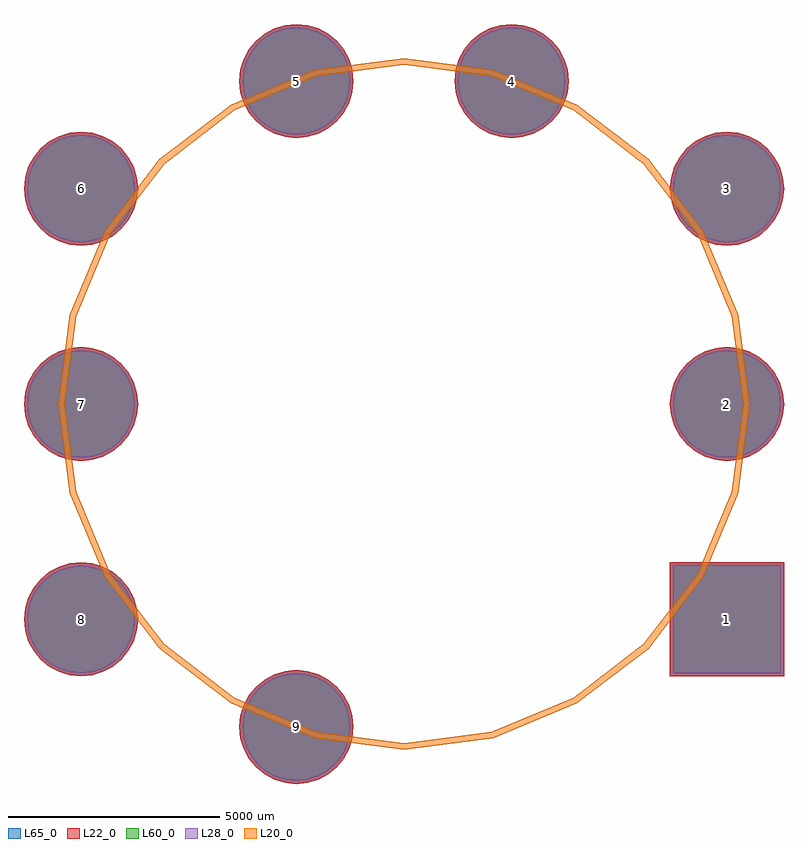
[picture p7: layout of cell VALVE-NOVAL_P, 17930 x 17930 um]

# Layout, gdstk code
import gdstk
lib = gdstk.Library(unit=1e-6, precision=1e-09)
def R(c, l, rs):  # rectangles x0, y0, x1, y1
    for r in rs: c.add(gdstk.rectangle(r[:2], r[2:], *l))
def P(c, l, *ps):  # polygons
    for p in ps: c.add(gdstk.Polygon(p, *l))
L20_0 = (20, 0)
L22_0 = (22, 0)
L28_0 = (28, 0)
L60_0 = (60, 0)
L65_0 = (65, 0)

valve_noval_p = lib.new_cell('VALVE-NOVAL_P')
R(valve_noval_p, L22_0, [(6275,-6425,8965,-3735)])
P(valve_noval_p, L22_0, [(-1195,-7620),(-1220.844,-7357.604),(-1297.382,-7105.291),(-1421.673,-6872.758),(-1588.941,-6668.941),(-1792.758,-6501.673),(-2025.291,-6377.382),(-2277.604,-6300.844),(-2540,-6275),(-2802.396,-6300.844),(-3054.709,-6377.382),(-3287.242,-6501.673),(-3491.059,-6668.941),(-3658.327,-6872.758),(-3782.618,-7105.291),(-3859.156,-7357.604),(-3885,-7620),(-3859.156,-7882.396),(-3782.618,-8134.709),(-3658.327,-8367.242),(-3491.059,-8571.059),(-3287.242,-8738.327),(-3054.709,-8862.618),(-2802.396,-8939.156),(-2540,-8965),(-2277.604,-8939.156),(-2025.291,-8862.618),(-1792.758,-8738.327),(-1588.941,-8571.059),(-1421.673,-8367.242),(-1297.382,-8134.709),(-1220.844,-7882.396)],
  [(-6275,-5080),(-6300.844,-4817.604),(-6377.382,-4565.291),(-6501.673,-4332.758),(-6668.941,-4128.941),(-6872.758,-3961.673),(-7105.291,-3837.382),(-7357.604,-3760.844),(-7620,-3735),(-7882.396,-3760.844),(-8134.709,-3837.382),(-8367.242,-3961.673),(-8571.059,-4128.941),(-8738.327,-4332.758),(-8862.618,-4565.291),(-8939.156,-4817.604),(-8965,-5080),(-8939.156,-5342.396),(-8862.618,-5594.709),(-8738.327,-5827.242),(-8571.059,-6031.059),(-8367.242,-6198.327),(-8134.709,-6322.618),(-7882.396,-6399.156),(-7620,-6425),(-7357.604,-6399.156),(-7105.291,-6322.618),(-6872.758,-6198.327),(-6668.941,-6031.059),(-6501.673,-5827.242),(-6377.382,-5594.709),(-6300.844,-5342.396)],
  [(-6275,0),(-6300.844,262.396),(-6377.382,514.709),(-6501.673,747.242),(-6668.941,951.059),(-6872.758,1118.327),(-7105.291,1242.618),(-7357.604,1319.156),(-7620,1345),(-7882.396,1319.156),(-8134.709,1242.618),(-8367.242,1118.327),(-8571.059,951.059),(-8738.327,747.242),(-8862.618,514.709),(-8939.156,262.396),(-8965,0),(-8939.156,-262.396),(-8862.618,-514.709),(-8738.327,-747.242),(-8571.059,-951.059),(-8367.242,-1118.327),(-8134.709,-1242.618),(-7882.396,-1319.156),(-7620,-1345),(-7357.604,-1319.156),(-7105.291,-1242.618),(-6872.758,-1118.327),(-6668.941,-951.059),(-6501.673,-747.242),(-6377.382,-514.709),(-6300.844,-262.396)],
  [(-6275,5080),(-6300.844,5342.396),(-6377.382,5594.709),(-6501.673,5827.242),(-6668.941,6031.059),(-6872.758,6198.327),(-7105.291,6322.618),(-7357.604,6399.156),(-7620,6425),(-7882.396,6399.156),(-8134.709,6322.618),(-8367.242,6198.327),(-8571.059,6031.059),(-8738.327,5827.242),(-8862.618,5594.709),(-8939.156,5342.396),(-8965,5080),(-8939.156,4817.604),(-8862.618,4565.291),(-8738.327,4332.758),(-8571.059,4128.941),(-8367.242,3961.673),(-8134.709,3837.382),(-7882.396,3760.844),(-7620,3735),(-7357.604,3760.844),(-7105.291,3837.382),(-6872.758,3961.673),(-6668.941,4128.941),(-6501.673,4332.758),(-6377.382,4565.291),(-6300.844,4817.604)],
  [(-1195,7620),(-1220.844,7882.396),(-1297.382,8134.709),(-1421.673,8367.242),(-1588.941,8571.059),(-1792.758,8738.327),(-2025.291,8862.618),(-2277.604,8939.156),(-2540,8965),(-2802.396,8939.156),(-3054.709,8862.618),(-3287.242,8738.327),(-3491.059,8571.059),(-3658.327,8367.242),(-3782.618,8134.709),(-3859.156,7882.396),(-3885,7620),(-3859.156,7357.604),(-3782.618,7105.291),(-3658.327,6872.758),(-3491.059,6668.941),(-3287.242,6501.673),(-3054.709,6377.382),(-2802.396,6300.844),(-2540,6275),(-2277.604,6300.844),(-2025.291,6377.382),(-1792.758,6501.673),(-1588.941,6668.941),(-1421.673,6872.758),(-1297.382,7105.291),(-1220.844,7357.604)],
  [(3885,7620),(3859.156,7882.396),(3782.618,8134.709),(3658.327,8367.242),(3491.059,8571.059),(3287.242,8738.327),(3054.709,8862.618),(2802.396,8939.156),(2540,8965),(2277.604,8939.156),(2025.291,8862.618),(1792.758,8738.327),(1588.941,8571.059),(1421.673,8367.242),(1297.382,8134.709),(1220.844,7882.396),(1195,7620),(1220.844,7357.604),(1297.382,7105.291),(1421.673,6872.758),(1588.941,6668.941),(1792.758,6501.673),(2025.291,6377.382),(2277.604,6300.844),(2540,6275),(2802.396,6300.844),(3054.709,6377.382),(3287.242,6501.673),(3491.059,6668.941),(3658.327,6872.758),(3782.618,7105.291),(3859.156,7357.604)],
  [(8965,5080),(8939.156,5342.396),(8862.618,5594.709),(8738.327,5827.242),(8571.059,6031.059),(8367.242,6198.327),(8134.709,6322.618),(7882.396,6399.156),(7620,6425),(7357.604,6399.156),(7105.291,6322.618),(6872.758,6198.327),(6668.941,6031.059),(6501.673,5827.242),(6377.382,5594.709),(6300.844,5342.396),(6275,5080),(6300.844,4817.604),(6377.382,4565.291),(6501.673,4332.758),(6668.941,4128.941),(6872.758,3961.673),(7105.291,3837.382),(7357.604,3760.844),(7620,3735),(7882.396,3760.844),(8134.709,3837.382),(8367.242,3961.673),(8571.059,4128.941),(8738.327,4332.758),(8862.618,4565.291),(8939.156,4817.604)],
  [(8965,0),(8939.156,262.396),(8862.618,514.709),(8738.327,747.242),(8571.059,951.059),(8367.242,1118.327),(8134.709,1242.618),(7882.396,1319.156),(7620,1345),(7357.604,1319.156),(7105.291,1242.618),(6872.758,1118.327),(6668.941,951.059),(6501.673,747.242),(6377.382,514.709),(6300.844,262.396),(6275,0),(6300.844,-262.396),(6377.382,-514.709),(6501.673,-747.242),(6668.941,-951.059),(6872.758,-1118.327),(7105.291,-1242.618),(7357.604,-1319.156),(7620,-1345),(7882.396,-1319.156),(8134.709,-1242.618),(8367.242,-1118.327),(8571.059,-951.059),(8738.327,-747.242),(8862.618,-514.709),(8939.156,-262.396)])
R(valve_noval_p, L28_0, [(6350,-6350,8890,-3810)])
P(valve_noval_p, L28_0, [(-1270,-7620),(-1294.403,-7372.235),(-1366.673,-7133.992),(-1484.034,-6914.426),(-1641.974,-6721.974),(-1834.426,-6564.034),(-2053.992,-6446.673),(-2292.235,-6374.403),(-2540,-6350),(-2787.765,-6374.403),(-3026.008,-6446.673),(-3245.574,-6564.034),(-3438.026,-6721.974),(-3595.966,-6914.426),(-3713.327,-7133.992),(-3785.597,-7372.235),(-3810,-7620),(-3785.597,-7867.765),(-3713.327,-8106.008),(-3595.966,-8325.574),(-3438.026,-8518.026),(-3245.574,-8675.966),(-3026.008,-8793.327),(-2787.765,-8865.597),(-2540,-8890),(-2292.235,-8865.597),(-2053.992,-8793.327),(-1834.426,-8675.966),(-1641.974,-8518.026),(-1484.034,-8325.574),(-1366.673,-8106.008),(-1294.403,-7867.765)],
  [(-6350,-5080),(-6374.403,-4832.235),(-6446.673,-4593.992),(-6564.034,-4374.426),(-6721.974,-4181.974),(-6914.426,-4024.034),(-7133.992,-3906.673),(-7372.235,-3834.403),(-7620,-3810),(-7867.765,-3834.403),(-8106.008,-3906.673),(-8325.574,-4024.034),(-8518.026,-4181.974),(-8675.966,-4374.426),(-8793.327,-4593.992),(-8865.597,-4832.235),(-8890,-5080),(-8865.597,-5327.765),(-8793.327,-5566.008),(-8675.966,-5785.574),(-8518.026,-5978.026),(-8325.574,-6135.966),(-8106.008,-6253.327),(-7867.765,-6325.597),(-7620,-6350),(-7372.235,-6325.597),(-7133.992,-6253.327),(-6914.426,-6135.966),(-6721.974,-5978.026),(-6564.034,-5785.574),(-6446.673,-5566.008),(-6374.403,-5327.765)],
  [(-6350,0),(-6374.403,247.765),(-6446.673,486.008),(-6564.034,705.574),(-6721.974,898.026),(-6914.426,1055.966),(-7133.992,1173.327),(-7372.235,1245.597),(-7620,1270),(-7867.765,1245.597),(-8106.008,1173.327),(-8325.574,1055.966),(-8518.026,898.026),(-8675.966,705.574),(-8793.327,486.008),(-8865.597,247.765),(-8890,0),(-8865.597,-247.765),(-8793.327,-486.008),(-8675.966,-705.574),(-8518.026,-898.026),(-8325.574,-1055.966),(-8106.008,-1173.327),(-7867.765,-1245.597),(-7620,-1270),(-7372.235,-1245.597),(-7133.992,-1173.327),(-6914.426,-1055.966),(-6721.974,-898.026),(-6564.034,-705.574),(-6446.673,-486.008),(-6374.403,-247.765)],
  [(-6350,5080),(-6374.403,5327.765),(-6446.673,5566.008),(-6564.034,5785.574),(-6721.974,5978.026),(-6914.426,6135.966),(-7133.992,6253.327),(-7372.235,6325.597),(-7620,6350),(-7867.765,6325.597),(-8106.008,6253.327),(-8325.574,6135.966),(-8518.026,5978.026),(-8675.966,5785.574),(-8793.327,5566.008),(-8865.597,5327.765),(-8890,5080),(-8865.597,4832.235),(-8793.327,4593.992),(-8675.966,4374.426),(-8518.026,4181.974),(-8325.574,4024.034),(-8106.008,3906.673),(-7867.765,3834.403),(-7620,3810),(-7372.235,3834.403),(-7133.992,3906.673),(-6914.426,4024.034),(-6721.974,4181.974),(-6564.034,4374.426),(-6446.673,4593.992),(-6374.403,4832.235)],
  [(-1270,7620),(-1294.403,7867.765),(-1366.673,8106.008),(-1484.034,8325.574),(-1641.974,8518.026),(-1834.426,8675.966),(-2053.992,8793.327),(-2292.235,8865.597),(-2540,8890),(-2787.765,8865.597),(-3026.008,8793.327),(-3245.574,8675.966),(-3438.026,8518.026),(-3595.966,8325.574),(-3713.327,8106.008),(-3785.597,7867.765),(-3810,7620),(-3785.597,7372.235),(-3713.327,7133.992),(-3595.966,6914.426),(-3438.026,6721.974),(-3245.574,6564.034),(-3026.008,6446.673),(-2787.765,6374.403),(-2540,6350),(-2292.235,6374.403),(-2053.992,6446.673),(-1834.426,6564.034),(-1641.974,6721.974),(-1484.034,6914.426),(-1366.673,7133.992),(-1294.403,7372.235)],
  [(3810,7620),(3785.597,7867.765),(3713.327,8106.008),(3595.966,8325.574),(3438.026,8518.026),(3245.574,8675.966),(3026.008,8793.327),(2787.765,8865.597),(2540,8890),(2292.235,8865.597),(2053.992,8793.327),(1834.426,8675.966),(1641.974,8518.026),(1484.034,8325.574),(1366.673,8106.008),(1294.403,7867.765),(1270,7620),(1294.403,7372.235),(1366.673,7133.992),(1484.034,6914.426),(1641.974,6721.974),(1834.426,6564.034),(2053.992,6446.673),(2292.235,6374.403),(2540,6350),(2787.765,6374.403),(3026.008,6446.673),(3245.574,6564.034),(3438.026,6721.974),(3595.966,6914.426),(3713.327,7133.992),(3785.597,7372.235)],
  [(8890,5080),(8865.597,5327.765),(8793.327,5566.008),(8675.966,5785.574),(8518.026,5978.026),(8325.574,6135.966),(8106.008,6253.327),(7867.765,6325.597),(7620,6350),(7372.235,6325.597),(7133.992,6253.327),(6914.426,6135.966),(6721.974,5978.026),(6564.034,5785.574),(6446.673,5566.008),(6374.403,5327.765),(6350,5080),(6374.403,4832.235),(6446.673,4593.992),(6564.034,4374.426),(6721.974,4181.974),(6914.426,4024.034),(7133.992,3906.673),(7372.235,3834.403),(7620,3810),(7867.765,3834.403),(8106.008,3906.673),(8325.574,4024.034),(8518.026,4181.974),(8675.966,4374.426),(8793.327,4593.992),(8865.597,4832.235)],
  [(8890,0),(8865.597,247.765),(8793.327,486.008),(8675.966,705.574),(8518.026,898.026),(8325.574,1055.966),(8106.008,1173.327),(7867.765,1245.597),(7620,1270),(7372.235,1245.597),(7133.992,1173.327),(6914.426,1055.966),(6721.974,898.026),(6564.034,705.574),(6446.673,486.008),(6374.403,247.765),(6350,0),(6374.403,-247.765),(6446.673,-486.008),(6564.034,-705.574),(6721.974,-898.026),(6914.426,-1055.966),(7133.992,-1173.327),(7372.235,-1245.597),(7620,-1270),(7867.765,-1245.597),(8106.008,-1173.327),(8325.574,-1055.966),(8518.026,-898.026),(8675.966,-705.574),(8793.327,-486.008),(8865.597,-247.765)])
R(valve_noval_p, L60_0, [(6350,-6350,8890,-3810)])
P(valve_noval_p, L60_0, [(-1270,-7620),(-1294.403,-7372.235),(-1366.673,-7133.992),(-1484.034,-6914.426),(-1641.974,-6721.974),(-1834.426,-6564.034),(-2053.992,-6446.673),(-2292.235,-6374.403),(-2540,-6350),(-2787.765,-6374.403),(-3026.008,-6446.673),(-3245.574,-6564.034),(-3438.026,-6721.974),(-3595.966,-6914.426),(-3713.327,-7133.992),(-3785.597,-7372.235),(-3810,-7620),(-3785.597,-7867.765),(-3713.327,-8106.008),(-3595.966,-8325.574),(-3438.026,-8518.026),(-3245.574,-8675.966),(-3026.008,-8793.327),(-2787.765,-8865.597),(-2540,-8890),(-2292.235,-8865.597),(-2053.992,-8793.327),(-1834.426,-8675.966),(-1641.974,-8518.026),(-1484.034,-8325.574),(-1366.673,-8106.008),(-1294.403,-7867.765)],
  [(-6350,-5080),(-6374.403,-4832.235),(-6446.673,-4593.992),(-6564.034,-4374.426),(-6721.974,-4181.974),(-6914.426,-4024.034),(-7133.992,-3906.673),(-7372.235,-3834.403),(-7620,-3810),(-7867.765,-3834.403),(-8106.008,-3906.673),(-8325.574,-4024.034),(-8518.026,-4181.974),(-8675.966,-4374.426),(-8793.327,-4593.992),(-8865.597,-4832.235),(-8890,-5080),(-8865.597,-5327.765),(-8793.327,-5566.008),(-8675.966,-5785.574),(-8518.026,-5978.026),(-8325.574,-6135.966),(-8106.008,-6253.327),(-7867.765,-6325.597),(-7620,-6350),(-7372.235,-6325.597),(-7133.992,-6253.327),(-6914.426,-6135.966),(-6721.974,-5978.026),(-6564.034,-5785.574),(-6446.673,-5566.008),(-6374.403,-5327.765)],
  [(-6350,0),(-6374.403,247.765),(-6446.673,486.008),(-6564.034,705.574),(-6721.974,898.026),(-6914.426,1055.966),(-7133.992,1173.327),(-7372.235,1245.597),(-7620,1270),(-7867.765,1245.597),(-8106.008,1173.327),(-8325.574,1055.966),(-8518.026,898.026),(-8675.966,705.574),(-8793.327,486.008),(-8865.597,247.765),(-8890,0),(-8865.597,-247.765),(-8793.327,-486.008),(-8675.966,-705.574),(-8518.026,-898.026),(-8325.574,-1055.966),(-8106.008,-1173.327),(-7867.765,-1245.597),(-7620,-1270),(-7372.235,-1245.597),(-7133.992,-1173.327),(-6914.426,-1055.966),(-6721.974,-898.026),(-6564.034,-705.574),(-6446.673,-486.008),(-6374.403,-247.765)],
  [(-6350,5080),(-6374.403,5327.765),(-6446.673,5566.008),(-6564.034,5785.574),(-6721.974,5978.026),(-6914.426,6135.966),(-7133.992,6253.327),(-7372.235,6325.597),(-7620,6350),(-7867.765,6325.597),(-8106.008,6253.327),(-8325.574,6135.966),(-8518.026,5978.026),(-8675.966,5785.574),(-8793.327,5566.008),(-8865.597,5327.765),(-8890,5080),(-8865.597,4832.235),(-8793.327,4593.992),(-8675.966,4374.426),(-8518.026,4181.974),(-8325.574,4024.034),(-8106.008,3906.673),(-7867.765,3834.403),(-7620,3810),(-7372.235,3834.403),(-7133.992,3906.673),(-6914.426,4024.034),(-6721.974,4181.974),(-6564.034,4374.426),(-6446.673,4593.992),(-6374.403,4832.235)],
  [(-1270,7620),(-1294.403,7867.765),(-1366.673,8106.008),(-1484.034,8325.574),(-1641.974,8518.026),(-1834.426,8675.966),(-2053.992,8793.327),(-2292.235,8865.597),(-2540,8890),(-2787.765,8865.597),(-3026.008,8793.327),(-3245.574,8675.966),(-3438.026,8518.026),(-3595.966,8325.574),(-3713.327,8106.008),(-3785.597,7867.765),(-3810,7620),(-3785.597,7372.235),(-3713.327,7133.992),(-3595.966,6914.426),(-3438.026,6721.974),(-3245.574,6564.034),(-3026.008,6446.673),(-2787.765,6374.403),(-2540,6350),(-2292.235,6374.403),(-2053.992,6446.673),(-1834.426,6564.034),(-1641.974,6721.974),(-1484.034,6914.426),(-1366.673,7133.992),(-1294.403,7372.235)],
  [(3810,7620),(3785.597,7867.765),(3713.327,8106.008),(3595.966,8325.574),(3438.026,8518.026),(3245.574,8675.966),(3026.008,8793.327),(2787.765,8865.597),(2540,8890),(2292.235,8865.597),(2053.992,8793.327),(1834.426,8675.966),(1641.974,8518.026),(1484.034,8325.574),(1366.673,8106.008),(1294.403,7867.765),(1270,7620),(1294.403,7372.235),(1366.673,7133.992),(1484.034,6914.426),(1641.974,6721.974),(1834.426,6564.034),(2053.992,6446.673),(2292.235,6374.403),(2540,6350),(2787.765,6374.403),(3026.008,6446.673),(3245.574,6564.034),(3438.026,6721.974),(3595.966,6914.426),(3713.327,7133.992),(3785.597,7372.235)],
  [(8890,5080),(8865.597,5327.765),(8793.327,5566.008),(8675.966,5785.574),(8518.026,5978.026),(8325.574,6135.966),(8106.008,6253.327),(7867.765,6325.597),(7620,6350),(7372.235,6325.597),(7133.992,6253.327),(6914.426,6135.966),(6721.974,5978.026),(6564.034,5785.574),(6446.673,5566.008),(6374.403,5327.765),(6350,5080),(6374.403,4832.235),(6446.673,4593.992),(6564.034,4374.426),(6721.974,4181.974),(6914.426,4024.034),(7133.992,3906.673),(7372.235,3834.403),(7620,3810),(7867.765,3834.403),(8106.008,3906.673),(8325.574,4024.034),(8518.026,4181.974),(8675.966,4374.426),(8793.327,4593.992),(8865.597,4832.235)],
  [(8890,0),(8865.597,247.765),(8793.327,486.008),(8675.966,705.574),(8518.026,898.026),(8325.574,1055.966),(8106.008,1173.327),(7867.765,1245.597),(7620,1270),(7372.235,1245.597),(7133.992,1173.327),(6914.426,1055.966),(6721.974,898.026),(6564.034,705.574),(6446.673,486.008),(6374.403,247.765),(6350,0),(6374.403,-247.765),(6446.673,-486.008),(6564.034,-705.574),(6721.974,-898.026),(6914.426,-1055.966),(7133.992,-1173.327),(7372.235,-1245.597),(7620,-1270),(7867.765,-1245.597),(8106.008,-1173.327),(8325.574,-1055.966),(8518.026,-898.026),(8675.966,-705.574),(8793.327,-486.008),(8865.597,-247.765)])
R(valve_noval_p, L65_0, [(6275,-6425,8965,-3735)])
P(valve_noval_p, L65_0, [(-1195,-7620),(-1220.844,-7357.604),(-1297.382,-7105.291),(-1421.673,-6872.758),(-1588.941,-6668.941),(-1792.758,-6501.673),(-2025.291,-6377.382),(-2277.604,-6300.844),(-2540,-6275),(-2802.396,-6300.844),(-3054.709,-6377.382),(-3287.242,-6501.673),(-3491.059,-6668.941),(-3658.327,-6872.758),(-3782.618,-7105.291),(-3859.156,-7357.604),(-3885,-7620),(-3859.156,-7882.396),(-3782.618,-8134.709),(-3658.327,-8367.242),(-3491.059,-8571.059),(-3287.242,-8738.327),(-3054.709,-8862.618),(-2802.396,-8939.156),(-2540,-8965),(-2277.604,-8939.156),(-2025.291,-8862.618),(-1792.758,-8738.327),(-1588.941,-8571.059),(-1421.673,-8367.242),(-1297.382,-8134.709),(-1220.844,-7882.396)],
  [(-6275,-5080),(-6300.844,-4817.604),(-6377.382,-4565.291),(-6501.673,-4332.758),(-6668.941,-4128.941),(-6872.758,-3961.673),(-7105.291,-3837.382),(-7357.604,-3760.844),(-7620,-3735),(-7882.396,-3760.844),(-8134.709,-3837.382),(-8367.242,-3961.673),(-8571.059,-4128.941),(-8738.327,-4332.758),(-8862.618,-4565.291),(-8939.156,-4817.604),(-8965,-5080),(-8939.156,-5342.396),(-8862.618,-5594.709),(-8738.327,-5827.242),(-8571.059,-6031.059),(-8367.242,-6198.327),(-8134.709,-6322.618),(-7882.396,-6399.156),(-7620,-6425),(-7357.604,-6399.156),(-7105.291,-6322.618),(-6872.758,-6198.327),(-6668.941,-6031.059),(-6501.673,-5827.242),(-6377.382,-5594.709),(-6300.844,-5342.396)],
  [(-6275,0),(-6300.844,262.396),(-6377.382,514.709),(-6501.673,747.242),(-6668.941,951.059),(-6872.758,1118.327),(-7105.291,1242.618),(-7357.604,1319.156),(-7620,1345),(-7882.396,1319.156),(-8134.709,1242.618),(-8367.242,1118.327),(-8571.059,951.059),(-8738.327,747.242),(-8862.618,514.709),(-8939.156,262.396),(-8965,0),(-8939.156,-262.396),(-8862.618,-514.709),(-8738.327,-747.242),(-8571.059,-951.059),(-8367.242,-1118.327),(-8134.709,-1242.618),(-7882.396,-1319.156),(-7620,-1345),(-7357.604,-1319.156),(-7105.291,-1242.618),(-6872.758,-1118.327),(-6668.941,-951.059),(-6501.673,-747.242),(-6377.382,-514.709),(-6300.844,-262.396)],
  [(-6275,5080),(-6300.844,5342.396),(-6377.382,5594.709),(-6501.673,5827.242),(-6668.941,6031.059),(-6872.758,6198.327),(-7105.291,6322.618),(-7357.604,6399.156),(-7620,6425),(-7882.396,6399.156),(-8134.709,6322.618),(-8367.242,6198.327),(-8571.059,6031.059),(-8738.327,5827.242),(-8862.618,5594.709),(-8939.156,5342.396),(-8965,5080),(-8939.156,4817.604),(-8862.618,4565.291),(-8738.327,4332.758),(-8571.059,4128.941),(-8367.242,3961.673),(-8134.709,3837.382),(-7882.396,3760.844),(-7620,3735),(-7357.604,3760.844),(-7105.291,3837.382),(-6872.758,3961.673),(-6668.941,4128.941),(-6501.673,4332.758),(-6377.382,4565.291),(-6300.844,4817.604)],
  [(-1195,7620),(-1220.844,7882.396),(-1297.382,8134.709),(-1421.673,8367.242),(-1588.941,8571.059),(-1792.758,8738.327),(-2025.291,8862.618),(-2277.604,8939.156),(-2540,8965),(-2802.396,8939.156),(-3054.709,8862.618),(-3287.242,8738.327),(-3491.059,8571.059),(-3658.327,8367.242),(-3782.618,8134.709),(-3859.156,7882.396),(-3885,7620),(-3859.156,7357.604),(-3782.618,7105.291),(-3658.327,6872.758),(-3491.059,6668.941),(-3287.242,6501.673),(-3054.709,6377.382),(-2802.396,6300.844),(-2540,6275),(-2277.604,6300.844),(-2025.291,6377.382),(-1792.758,6501.673),(-1588.941,6668.941),(-1421.673,6872.758),(-1297.382,7105.291),(-1220.844,7357.604)],
  [(3885,7620),(3859.156,7882.396),(3782.618,8134.709),(3658.327,8367.242),(3491.059,8571.059),(3287.242,8738.327),(3054.709,8862.618),(2802.396,8939.156),(2540,8965),(2277.604,8939.156),(2025.291,8862.618),(1792.758,8738.327),(1588.941,8571.059),(1421.673,8367.242),(1297.382,8134.709),(1220.844,7882.396),(1195,7620),(1220.844,7357.604),(1297.382,7105.291),(1421.673,6872.758),(1588.941,6668.941),(1792.758,6501.673),(2025.291,6377.382),(2277.604,6300.844),(2540,6275),(2802.396,6300.844),(3054.709,6377.382),(3287.242,6501.673),(3491.059,6668.941),(3658.327,6872.758),(3782.618,7105.291),(3859.156,7357.604)],
  [(8965,5080),(8939.156,5342.396),(8862.618,5594.709),(8738.327,5827.242),(8571.059,6031.059),(8367.242,6198.327),(8134.709,6322.618),(7882.396,6399.156),(7620,6425),(7357.604,6399.156),(7105.291,6322.618),(6872.758,6198.327),(6668.941,6031.059),(6501.673,5827.242),(6377.382,5594.709),(6300.844,5342.396),(6275,5080),(6300.844,4817.604),(6377.382,4565.291),(6501.673,4332.758),(6668.941,4128.941),(6872.758,3961.673),(7105.291,3837.382),(7357.604,3760.844),(7620,3735),(7882.396,3760.844),(8134.709,3837.382),(8367.242,3961.673),(8571.059,4128.941),(8738.327,4332.758),(8862.618,4565.291),(8939.156,4817.604)],
  [(8965,0),(8939.156,262.396),(8862.618,514.709),(8738.327,747.242),(8571.059,951.059),(8367.242,1118.327),(8134.709,1242.618),(7882.396,1319.156),(7620,1345),(7357.604,1319.156),(7105.291,1242.618),(6872.758,1118.327),(6668.941,951.059),(6501.673,747.242),(6377.382,514.709),(6300.844,262.396),(6275,0),(6300.844,-262.396),(6377.382,-514.709),(6501.673,-747.242),(6668.941,-951.059),(6872.758,-1118.327),(7105.291,-1242.618),(7357.604,-1319.156),(7620,-1345),(7882.396,-1319.156),(8134.709,-1242.618),(8367.242,-1118.327),(8571.059,-951.059),(8738.327,-747.242),(8862.618,-514.709),(8939.156,-262.396)])
valve_noval_p.add(gdstk.FlexPath([(-5715,-5715),(-4041.115,-6999.417),(-2091.835,-7806.835),(0,-8082.231),(2091.835,-7806.835),(4041.115,-6999.417),(5715,-5715),(6999.417,-4041.115),(7806.835,-2091.835),(8082.231,0),(7806.835,2091.835),(6999.417,4041.115),(5715,5715),(4041.115,6999.417),(2091.835,7806.835),(0,8082.231),(-2091.835,7806.835),(-4041.115,6999.417),(-5715,5715),(-6999.417,4041.115),(-7806.835,2091.835),(-8082.231,0),(-7806.835,-2091.835),(-6999.417,-4041.115),(-5715,-5715)], 149.998, ends="flush", simple_path=True, layer=20, datatype=0))  # L20_0
valve_noval_p.add(gdstk.Label('9', (-2540,-7620), layer=28, texttype=0))
valve_noval_p.add(gdstk.Label('8', (-7620,-5080), layer=28, texttype=0))
valve_noval_p.add(gdstk.Label('7', (-7620,0), layer=28, texttype=0))
valve_noval_p.add(gdstk.Label('6', (-7620,5080), layer=28, texttype=0))
valve_noval_p.add(gdstk.Label('5', (-2540,7620), layer=28, texttype=0))
valve_noval_p.add(gdstk.Label('4', (2540,7620), layer=28, texttype=0))
valve_noval_p.add(gdstk.Label('3', (7620,5080), layer=28, texttype=0))
valve_noval_p.add(gdstk.Label('2', (7620,0), layer=28, texttype=0))
valve_noval_p.add(gdstk.Label('1', (7620,-5080), layer=28, texttype=0))
valve_noval_p.add(gdstk.Label('Noval', (17780,4572), layer=9, texttype=0))
valve_noval_p.add(gdstk.Label('9', (-4318,-12573), layer=9, texttype=0))
valve_noval_p.add(gdstk.Label('8', (-10668,-8128), layer=9, texttype=0))
valve_noval_p.add(gdstk.Label('7', (-12573,127), layer=9, texttype=0))
valve_noval_p.add(gdstk.Label('6', (-10668,7747), layer=9, texttype=0))
valve_noval_p.add(gdstk.Label('5', (-3683,12192), layer=9, texttype=0))
valve_noval_p.add(gdstk.Label('4', (4572,12192), layer=9, texttype=0))
valve_noval_p.add(gdstk.Label('3', (10922,7747), layer=9, texttype=0))
valve_noval_p.add(gdstk.Label('2', (13462,127), layer=9, texttype=0))
valve_noval_p.add(gdstk.Label('1', (11557,-6223), layer=9, texttype=0))
valve_noval_p.add(gdstk.Label('type', (12192,-10033), layer=9, texttype=0))
valve_noval_p.add(gdstk.Label('devicename', (11430,10287), layer=9, texttype=0))

lib.write_gds('VALVE-NOVAL_P.gds')
